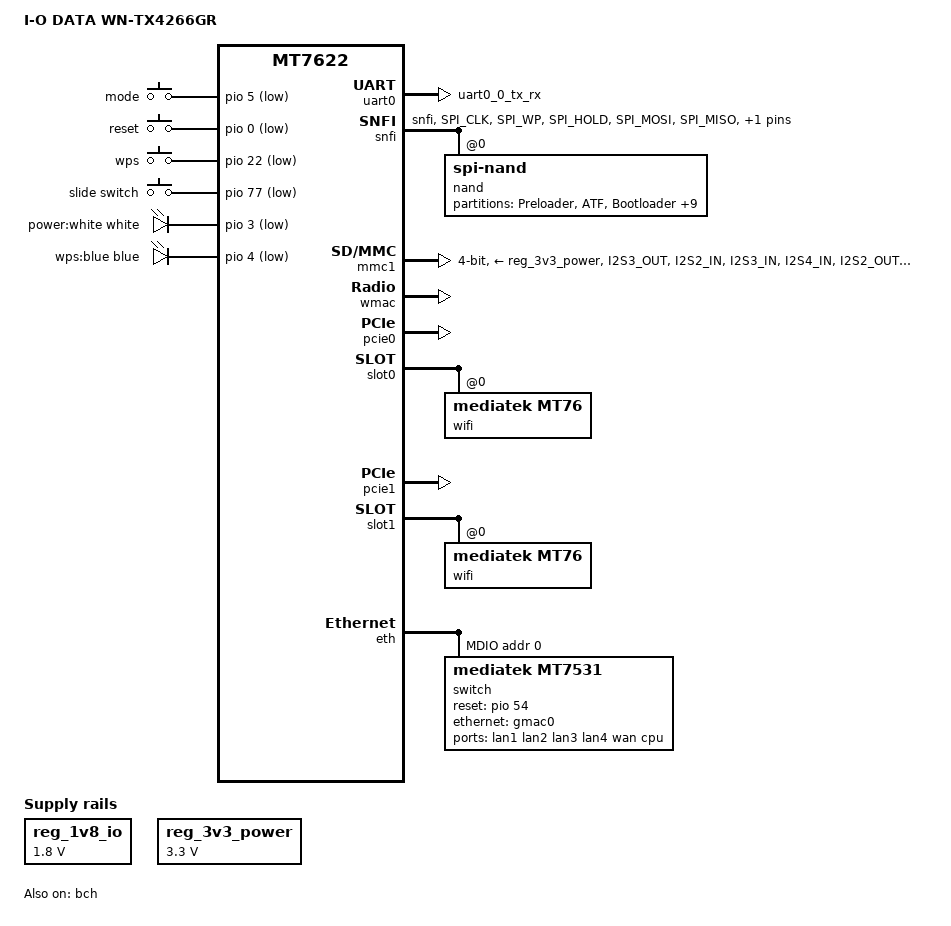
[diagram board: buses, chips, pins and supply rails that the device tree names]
// SPDX-License-Identifier: GPL-2.0
/dts-v1/;
#include <dt-bindings/gpio/gpio.h>
#include <dt-bindings/input/input.h>
#include <dt-bindings/leds/common.h>

#include "mt7622.dtsi"
#include "mt6380.dtsi"

/ {
	model = "I-O DATA WN-TX4266GR";
	compatible = "iodata,wn-tx4266gr", "mediatek,mt7622";

	aliases {
		led-boot = &led_power;
		led-failsafe = &led_power;
		led-running = &led_power;
		led-upgrade = &led_power;
		serial0 = &uart0;
	};

	chosen {
		stdout-path = "serial0:115200n8";
	};

	keys {
		compatible = "gpio-keys";

		pinctrl-names = "default";
		pinctrl-0 = <&key_pins>;

		mode {
			gpios = <&pio 5 GPIO_ACTIVE_LOW>;
			label = "mode";
			linux,code = <BTN_0>;
			linux,input-type = <EV_SW>;
		};

		reset {
			gpios = <&pio 0 GPIO_ACTIVE_LOW>;
			label = "reset";
			linux,code = <KEY_RESTART>;
		};

		wps {
			gpios = <&pio 22 GPIO_ACTIVE_LOW>;
			label = "wps";
			linux,code = <KEY_WPS_BUTTON>;
		};

		slide_switch {
			gpios = <&pio 77 GPIO_ACTIVE_LOW>;
			label = "slide switch";
			linux,code = <BTN_1>;
			linux,input-type = <EV_SW>;
		};
	};

	leds {
		compatible = "gpio-leds";

		led_power: power {
			gpios = <&pio 3 GPIO_ACTIVE_LOW>;
			label = "power:white";
			color = <LED_COLOR_ID_WHITE>;
			function = LED_FUNCTION_POWER;
		};

		wps {
			gpios = <&pio 4 GPIO_ACTIVE_LOW>;
			label = "wps:blue";
			color = <LED_COLOR_ID_BLUE>;
			function = LED_FUNCTION_WPS;
		};
	};

	reg_1v8_io: regulator-1v8-io {
		compatible = "regulator-fixed";
		regulator-name = "mmc_io";
		regulator-min-microvolt = <1800000>;
		regulator-max-microvolt = <1800000>;
		regulator-always-on;
	};

	reg_3v3_power: regulator-3v3-power {
		compatible = "regulator-fixed";
		regulator-name = "mmc_power";
		regulator-min-microvolt = <3300000>;
		regulator-max-microvolt = <3300000>;
		regulator-always-on;
	};
};

&cpu0 {
	proc-supply = <&mt6380_vcpu_reg>;
	sram-supply = <&mt6380_vm_reg>;
};

&cpu1 {
	proc-supply = <&mt6380_vcpu_reg>;
	sram-supply = <&mt6380_vm_reg>;
};

&pwrap {
	status = "okay";

	pinctrl-names = "default";
	pinctrl-0 = <&pmic_pins>;
};

&pio {
	key_pins: key-pins {
		switch {
			pins = "I2S_MCLK", "GPIO_D", "GPIO_E";
			bias-pull-up;
			input-enable;
		};

		button {
			pins = "GPIO_A", "GPIO_B";
			bias-pull-up;
			input-enable;
		};
	};

	mmc1_pins_default: mmc1-pins-default {
		clk {
			pins = "I2S3_OUT";
			bias-pull-down;
			drive-strength = <12>;
		};

		cmd_dat {
			pins = "I2S2_IN", "I2S3_IN", "I2S4_IN",
				"I2S2_OUT", "I2S4_OUT";
			bias-pull-up;
			drive-strength = <8>;
			input-enable;
		};

		insert {
			pins = "TXD3";
			bias-pull-up;
		};
	};

	mmc1_pins_uhs: mmc1-pins-uhs {
		mux {
			groups = "sd_0";
			function = "sd";
		};

		clk {
			pins = "I2S3_OUT";
			bias-pull-down;
		};

		cmd_dat {
			pins = "I2S2_IN", "I2S3_IN", "I2S4_IN",
				"I2S2_OUT", "I2S4_OUT";
			bias-pull-up;
			input-enable;
		};
	};

	pmic_pins: pmic-pins {
		mux {
			groups = "pmic_bus";
			function = "pmic";
		};
	};

	snand_pins: snand-pins {
		mux {
			groups = "snfi";
			function = "flash";
		};

		clk {
			pins = "SPI_CLK";
			bias-pull-down;
			drive-strength = <16>;
		};

		cmd_dat {
			pins = "SPI_WP", "SPI_HOLD", "SPI_MOSI",
				"SPI_MISO", "SPI_CS";
			bias-pull-up;
			drive-strength = <16>;
			input-enable;
		};
	};

	uart0_pins: uart0-pins {
		mux {
			groups = "uart0_0_tx_rx";
			function = "uart";
		};
	};
};

&uart0 {
	status = "okay";

	pinctrl-names = "default";
	pinctrl-0 = <&uart0_pins>;
};

&snfi {
	status = "okay";

	pinctrl-names = "default";
	pinctrl-0 = <&snand_pins>;

	nand@0 {
		compatible = "spi-nand";
		reg = <0>;
		nand-ecc-engine = <&snfi>;
		mediatek,bmt-v2;
		mediatek,bmt-remap-range = <0x0 0xa80000>,
					<0x34c0000 0x75c0000>;

		partitions {
			compatible = "fixed-partitions";
			#address-cells = <1>;
			#size-cells = <1>;

			partition@0 {
				reg = <0x0000000 0x0080000>;
				label = "Preloader";
				read-only;
			};

			partition@80000 {
				reg = <0x0080000 0x0040000>;
				label = "ATF";
				read-only;
			};

			partition@c0000 {
				reg = <0x00c0000 0x0080000>;
				label = "Bootloader";
				read-only;
			};

			partition@140000 {
				reg = <0x0140000 0x0080000>;
				label = "Ubootenv";
			};

			factory: partition@1c0000 {
				reg = <0x01c0000 0x00c0000>;
				label = "Factory";
				read-only;
			};

			partition@280000 {
				reg = <0x0280000 0x3240000>;
				label = "RAS1";
				read-only;
			};

			partition@34c0000 {
				reg = <0x34c0000 0x0100000>;
				label = "Config";
				read-only;
			};

			partition@35c0000 {
				reg = <0x35c0000 0x3240000>;
				label = "RAS2";
				read-only;
			};

			partition@6800000 {
				reg = <0x6800000 0x0100000>;
				label = "Config_2";
				read-only;
			};

			partition@6900000 {
				reg = <0x6900000 0x0100000>;
				label = "persist";
				read-only;
			};

			partition@6a00000 {
				reg = <0x6a00000 0x0100000>;
				label = "idmkey";
				read-only;
			};

			partition@6b00000 {
				reg = <0x6b00000 0x0ac0000>;
				label = "Backup";
				read-only;
			};
		};
	};
};

&bch {
	status = "okay";
};

&mmc1 {
	status = "okay";

	pinctrl-names = "default", "state_uhs";
	pinctrl-0 = <&mmc1_pins_default>;
	pinctrl-1 = <&mmc1_pins_uhs>;

	cd-gpios = <&pio 81 GPIO_ACTIVE_LOW>;
	bus-width = <4>;
	cap-sd-highspeed;
	max-frequency = <50000000>;
	vmmc-supply = <&reg_3v3_power>;
	vqmmc-supply = <&reg_1v8_io>;
};

&wmac {
	status = "okay";
	mediatek,mtd-eeprom = <&factory 0x0>;
};

&pcie0 {
	status = "okay";
};

&slot0 {
	wifi@0,0 {
		compatible = "mediatek,mt76";
		reg = <0x0000 0 0 0 0>;
		ieee80211-freq-limit = <5170000 5330000>;
		mediatek,mtd-eeprom = <&factory 0x5000>;
	};
};

&pcie1 {
	status = "okay";
};

&slot1 {
	wifi@0,0 {
		compatible = "mediatek,mt76";
		reg = <0x0000 0 0 0 0>;
		ieee80211-freq-limit = <5490000 5710000>;
		nvmem-cells = <&macaddr_wlan2>;
		nvmem-cell-names = "mac-address";
		mediatek,mtd-eeprom = <&factory 0x10000>;
	};
};

&eth {
	status = "okay";

	gmac0: mac@0 {
		compatible = "mediatek,eth-mac";
		reg = <0>;

		phy-connection-type = "2500base-x";

		nvmem-cells = <&macaddr_gmac0>;
		nvmem-cell-names = "mac-address";

		fixed-link {
			speed = <2500>;
			full-duplex;
			pause;
		};
	};
/*
	mac@1 {
		compatible = "mediatek,eth-mac";
		reg = <1>;

		phy-connection-type = "rgmii";

		fixed-link {
			speed = <1000>;
			full-duplex;
			pause;
		};
	};
*/
	mdio-bus {
		#address-cells = <1>;
		#size-cells = <0>;

		switch@0 {
			compatible = "mediatek,mt7531";
			reg = <0>;
			#address-cells = <1>;
			#size-cells = <0>;
			reset-gpios = <&pio 54 GPIO_ACTIVE_HIGH>;

			ports {
				#address-cells = <1>;
				#size-cells = <0>;

				port@0 {
					reg = <0>;
					label = "lan1";
				};

				port@1 {
					reg = <1>;
					label = "lan2";
				};

				port@2 {
					reg = <2>;
					label = "lan3";
				};

				port@3 {
					reg = <3>;
					label = "lan4";
				};

				port@4 {
					reg = <4>;
					label = "wan";
				};
/*
				port@5 {
					reg = <5>;
					label = "cpu";
					phy-mode = "rgmii";

					fixed-link {
						speed = <1000>;
						full-duplex;
					};
				};
*/
				port@6 {
					reg = <6>;
					label = "cpu";
					phy-mode = "2500base-x";
					ethernet = <&gmac0>;

					fixed-link {
						speed = <2500>;
						full-duplex;
					};
				};
			};
		};
	};
};

&factory {
	compatible = "nvmem-cells";
	#address-cells = <1>;
	#size-cells = <1>;

	macaddr_gmac0: macaddr_gmac0@2a {
		reg = <0x2a 0x6>;
	};

	macaddr_wlan2: macaddr_wlan2@24 {
		reg = <0x24 0x6>;
	};
};
